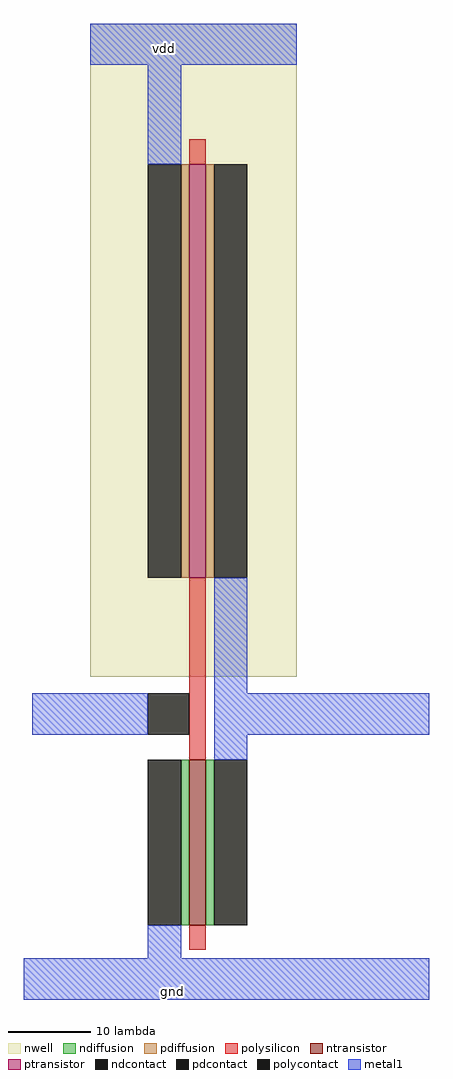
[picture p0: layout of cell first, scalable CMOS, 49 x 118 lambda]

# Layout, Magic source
magic
tech scmos
<< nwell >>
rect 86 -4 111 75
<< ntransistor >>
rect 98 -34 100 -14
<< ptransistor >>
rect 98 8 100 58
<< ndiffusion >>
rect 97 -34 98 -14
rect 100 -34 101 -14
<< pdiffusion >>
rect 97 8 98 58
rect 100 8 101 58
<< ndcontact >>
rect 93 -34 97 -14
rect 101 -34 105 -14
<< pdcontact >>
rect 93 8 97 58
rect 101 8 105 58
<< polysilicon >>
rect 98 58 100 61
rect 98 -14 100 8
rect 98 -37 100 -34
<< polycontact >>
rect 93 -11 98 -6
<< metal1 >>
rect 86 70 111 75
rect 93 58 97 70
rect 101 -6 105 8
rect 79 -11 93 -6
rect 101 -11 127 -6
rect 101 -14 105 -11
rect 93 -38 97 -34
rect 78 -43 127 -38
<< labels >>
rlabel metal1 96 -42 96 -42 1 gnd
rlabel metal1 95 72 95 72 5 vdd
<< end >>
